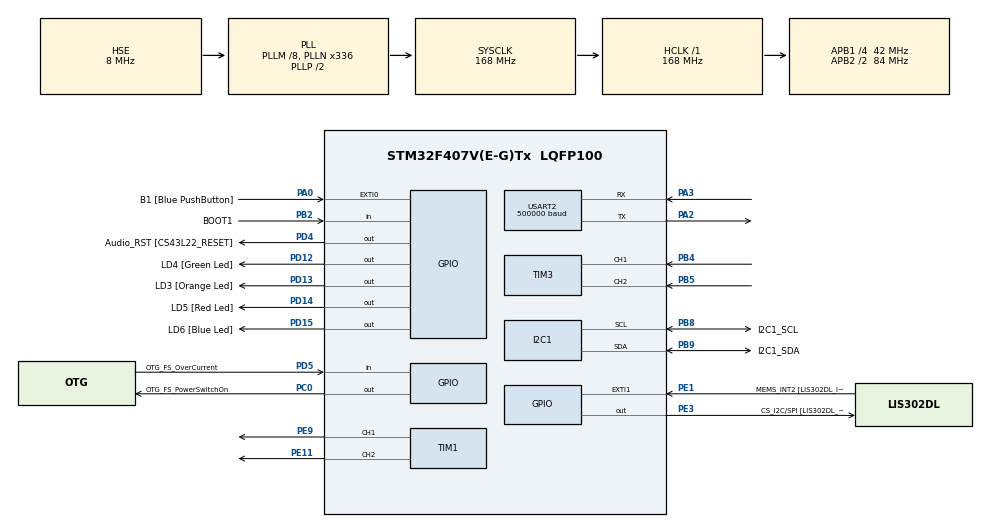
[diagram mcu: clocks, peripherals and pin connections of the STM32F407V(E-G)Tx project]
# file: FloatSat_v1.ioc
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Dma.Request0=USART2_RX
Dma.Request1=USART2_TX
Dma.USART2_RX.0.Direction=DMA_PERIPH_TO_MEMORY
Dma.USART2_RX.0.FIFOMode=DMA_FIFOMODE_DISABLE
Dma.USART2_RX.0.Instance=DMA1_Stream5
Dma.USART2_RX.0.MemDataAlignment=DMA_MDATAALIGN_BYTE
Dma.USART2_RX.0.MemInc=DMA_MINC_ENABLE
Dma.USART2_RX.0.Mode=DMA_NORMAL
Dma.USART2_RX.0.PeriphDataAlignment=DMA_PDATAALIGN_BYTE
Dma.USART2_RX.0.PeriphInc=DMA_PINC_DISABLE
Dma.USART2_RX.0.Priority=DMA_PRIORITY_LOW
Dma.USART2_TX.1.Direction=DMA_MEMORY_TO_PERIPH
Dma.USART2_TX.1.FIFOMode=DMA_FIFOMODE_DISABLE
Dma.USART2_TX.1.Instance=DMA1_Stream6
Dma.USART2_TX.1.MemDataAlignment=DMA_MDATAALIGN_BYTE
Dma.USART2_TX.1.MemInc=DMA_MINC_ENABLE
Dma.USART2_TX.1.Mode=DMA_NORMAL
Dma.USART2_TX.1.PeriphDataAlignment=DMA_PDATAALIGN_BYTE
Dma.USART2_TX.1.PeriphInc=DMA_PINC_DISABLE
Dma.USART2_TX.1.Priority=DMA_PRIORITY_LOW
FREERTOS.Tasks01=defaultTask,24,128,StartDefaultTask,Default,NULL,Dynamic,NULL,NULL;Task_Telemetry,27,256,Task_TelemetryFn,As external,handles->telemetry_handle,Dynamic,NULL,NULL;Task_Telecmd,24,256,Task_TelecmdFn,As external,handles->cmd_manager_handle,Dynamic,NULL,NULL;Task_Control,27,256,Task_ControlFn,As external,handles->control_handle,Dynamic,NULL,NULL;Task_Core,24,256,Task_CoreFn,As external,handles->core_handle,Dynamic,NULL,NULL;Task_Log,8,128,Task_LogFn,As external,handles->telemetry_handle,Dynamic,NULL,NULL
FREERTOS.configCHECK_FOR_STACK_OVERFLOW=2
FREERTOS.configUSE_NEWLIB_REENTRANT=1
Mcu.Family=STM32F4
Mcu.Name=STM32F407V(E-G)Tx
Mcu.Package=LQFP100
Mcu.UserConstants=ENCODER_SAMPLE_PERIOD_MS,5;MOTOR_PWM_TIM,$$_TIM1_IP_HANDLE_$$;IMU_I2C,$$_I2C1_IP_HANDLE_$$;MOTOR_ENCODER_TIM,$$_TIM3_IP_HANDLE_$$;ENCODER_SAMPLER_TIM,$$_TIM12_IP_HANDLE_$$;MOTOR_PWM_PERIOD_US,1000;MICROSEC_TIMER,$$_TIM2_IP_HANDLE_$$;MAIN_UART,$$_USART2_IP_HANDLE_$$
NVIC.DMA1_Stream5_IRQn=true\:5\:0\:false\:false\:true\:true\:false\:true\:true
NVIC.DMA1_Stream6_IRQn=true\:5\:0\:false\:false\:true\:true\:false\:true\:true
NVIC.PriorityGroup=NVIC_PRIORITYGROUP_4
NVIC.TIM2_IRQn=true\:5\:0\:false\:false\:true\:true\:true\:true\:true
NVIC.TIM3_IRQn=true\:5\:0\:false\:false\:true\:true\:true\:true\:true
NVIC.TIM6_DAC_IRQn=true\:15\:0\:true\:false\:true\:false\:false\:true\:true
NVIC.TIM8_BRK_TIM12_IRQn=true\:5\:0\:false\:false\:true\:true\:true\:true\:true
NVIC.TimeBase=TIM6_DAC_IRQn
NVIC.TimeBaseIP=TIM6
NVIC.USART2_IRQn=true\:5\:0\:false\:false\:true\:true\:true\:true\:true
PA0-WKUP.GPIO_Label=B1 [Blue PushButton]
PA0-WKUP.Signal=GPXTI0
PA10.Signal=USART1_RX
PA11.GPIO_Label=OTG_FS_DM
PA11.GPIO_Mode=GPIO_MODE_AF_PP
PA11.GPIO_PuPd=GPIO_NOPULL
PA11.GPIO_Speed=GPIO_SPEED_FREQ_LOW
PA11.Signal=USB_OTG_FS_DM
PA12.GPIO_Label=OTG_FS_DP
PA12.GPIO_Mode=GPIO_MODE_AF_PP
PA12.GPIO_PuPd=GPIO_NOPULL
PA12.GPIO_Speed=GPIO_SPEED_FREQ_LOW
PA12.Signal=USB_OTG_FS_DP
PA13.GPIO_Label=SWDIO
PA13.Mode=Serial_Wire
PA13.Signal=SYS_JTMS-SWDIO
PA14.GPIO_Label=SWCLK
PA14.Mode=Serial_Wire
PA14.Signal=SYS_JTCK-SWCLK
PA2.Mode=Asynchronous
PA2.Signal=USART2_TX
PA3.Mode=Asynchronous
PA3.Signal=USART2_RX
PA9.Signal=USART1_TX
PB2.GPIO_Label=BOOT1
PB2.GPIO_Mode=GPIO_MODE_INPUT
PB2.GPIO_PuPd=GPIO_NOPULL
PB2.Signal=GPIO_Input
PB3.GPIO_Label=SWO
PB3.Signal=SYS_JTDO-SWO
PB4.Signal=S_TIM3_CH1
PB5.Signal=S_TIM3_CH2
PB8.GPIO_Label=I2C1_SCL
PB8.Mode=I2C
PB8.Signal=I2C1_SCL
PB9.GPIO_Label=I2C1_SDA
PB9.Mode=I2C
PB9.Signal=I2C1_SDA
PC0.GPIO_Label=OTG_FS_PowerSwitchOn
PC0.GPIO_PuPd=GPIO_NOPULL
PC0.GPIO_Speed=GPIO_SPEED_FREQ_LOW
PC0.PinState=GPIO_PIN_SET
PC0.Signal=GPIO_Output
PD12.GPIO_Label=LD4 [Green Led]
PD12.GPIO_PuPd=GPIO_NOPULL
PD12.GPIO_Speed=GPIO_SPEED_FREQ_LOW
PD12.Signal=GPIO_Output
PD13.GPIO_Label=LD3 [Orange Led]
PD13.GPIO_PuPd=GPIO_NOPULL
PD13.GPIO_Speed=GPIO_SPEED_FREQ_LOW
PD13.Signal=GPIO_Output
PD14.GPIO_Label=LD5 [Red Led]
PD14.GPIO_PuPd=GPIO_NOPULL
PD14.GPIO_Speed=GPIO_SPEED_FREQ_LOW
PD14.Signal=GPIO_Output
PD15.GPIO_Label=LD6 [Blue Led]
PD15.GPIO_PuPd=GPIO_NOPULL
PD15.GPIO_Speed=GPIO_SPEED_FREQ_LOW
PD15.Signal=GPIO_Output
PD4.GPIO_Label=Audio_RST [CS43L22_RESET]
PD4.GPIO_PuPd=GPIO_NOPULL
PD4.GPIO_Speed=GPIO_SPEED_FREQ_LOW
PD4.Signal=GPIO_Output
PD5.GPIO_Label=OTG_FS_OverCurrent
PD5.GPIO_Mode=GPIO_MODE_INPUT
PD5.GPIO_PuPd=GPIO_NOPULL
PD5.Signal=GPIO_Input
PE1.GPIO_Label=MEMS_INT2 [LIS302DL_INT2]
PE1.GPIO_ModeDefaultEXTI=GPIO_MODE_EVT_RISING
PE1.GPIO_PuPd=GPIO_NOPULL
PE1.Signal=GPXTI1
PE11.Signal=S_TIM1_CH2
PE3.GPIO_Label=CS_I2C/SPI [LIS302DL_CS_I2C/SPI]
PE3.GPIO_PuPd=GPIO_NOPULL
PE3.GPIO_Speed=GPIO_SPEED_FREQ_LOW
PE3.Signal=GPIO_Output
PE9.Signal=S_TIM1_CH1
PH0-OSC_IN.GPIO_Label=PH0-OSC_IN
PH0-OSC_IN.Mode=HSE-External-Clock-Source
PH0-OSC_IN.Signal=RCC_OSC_IN
PH1-OSC_OUT.GPIO_Label=PH1-OSC_OUT
PH1-OSC_OUT.Mode=HSE-External-Clock-Source
PH1-OSC_OUT.Signal=RCC_OSC_OUT
ProjectManager.HeapSize=0x200
ProjectManager.StackSize=0x400
ProjectManager.TargetToolchain=STM32CubeIDE
RCC.48MHZClocksFreq_Value=48000000
RCC.AHBFreq_Value=168000000
RCC.APB1CLKDivider=RCC_HCLK_DIV4
RCC.APB1Freq_Value=42000000
RCC.APB1TimFreq_Value=84000000
RCC.APB2CLKDivider=RCC_HCLK_DIV2
RCC.APB2Freq_Value=84000000
RCC.APB2TimFreq_Value=168000000
RCC.CortexFreq_Value=168000000
RCC.HCLKFreq_Value=168000000
RCC.HSE_VALUE=8000000
RCC.HSI_VALUE=16000000
RCC.LSE_VALUE=32768
RCC.PLLM=8
RCC.PLLN=336
RCC.PLLQ=7
RCC.PLLSourceVirtual=RCC_PLLSOURCE_HSE
RCC.SYSCLKFreq_VALUE=168000000
RCC.SYSCLKSource=RCC_SYSCLKSOURCE_PLLCLK
RCC.VCOOutputFreq_Value=336000000
SH.S_TIM1_CH1.0=TIM1_CH1,PWM Generation1 CH1
SH.S_TIM1_CH2.0=TIM1_CH2,PWM Generation2 CH2
SH.S_TIM3_CH1.0=TIM3_CH1,Encoder_Interface
SH.S_TIM3_CH2.0=TIM3_CH2,Encoder_Interface
TIM1.AutoReloadPreload=TIM_AUTORELOAD_PRELOAD_ENABLE
TIM1.Channel-PWM\ Generation1\ CH1=TIM_CHANNEL_1
TIM1.Channel-PWM\ Generation2\ CH2=TIM_CHANNEL_2
TIM1.OC1Preload_PWM=ENABLE
TIM1.OC2Preload_PWM=ENABLE
TIM1.Period=(MOTOR_PWM_PERIOD_US * 168)
TIM12.AutoReloadPreload=TIM_AUTORELOAD_PRELOAD_ENABLE
TIM12.Period=ENCODER_SAMPLE_PERIOD_MS * 10 - 1
TIM12.Prescaler=8400
TIM2.AutoReloadPreload=TIM_AUTORELOAD_PRELOAD_ENABLE
TIM2.Channel-Input_Capture1_from_TI1=TIM_CHANNEL_1
TIM2.Period=0xffffffff
TIM2.Prescaler=83
TIM3.AutoReloadPreload=TIM_AUTORELOAD_PRELOAD_ENABLE
TIM3.EncoderMode=TIM_ENCODERMODE_TI12
TIM3.IC1Filter=4
USART2.BaudRate=500000
USART2.VirtualMode=VM_ASYNC
VP_FREERTOS_VS_CMSIS_V2.Mode=CMSIS_V2
VP_SYS_VS_tim6.Mode=TIM6
VP_TIM12_VS_ClockSourceINT.Mode=Internal
VP_TIM1_VS_ClockSourceINT.Mode=Internal
VP_TIM2_VS_ClockSourceINT.Mode=Internal
board=STM32F407G-DISC1

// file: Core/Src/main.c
/* USER CODE BEGIN Header */
/**
  ******************************************************************************
  * @file           : main.c
  * @brief          : Punto de entrada principal de la aplicación.
  *
  * Este archivo realiza la secuencia general de arranque:
  *
  *   1. Inicializa la biblioteca HAL.
  *   2. Configura el reloj del microcontrolador.
  *   3. Inicializa GPIO, I2C, temporizadores y UART.
  *   4. Inicializa el kernel de FreeRTOS.
  *   5. Crea las tareas y objetos del sistema.
  *   6. Inicia el planificador de FreeRTOS.
  *
  * Después de iniciar el scheduler, la ejecución normal queda repartida
  * entre las tareas definidas en freertos.c.
  ******************************************************************************
  * @attention
  *
  * Copyright (c) 2026 STMicroelectronics.
  * All rights reserved.
  *
  * This software is licensed under terms that can be found in the LICENSE file
  * in the root directory of this software component.
  * If no LICENSE file comes with this software, it is provided AS-IS.
  *
  ******************************************************************************
  */
/* USER CODE END Header */
#include "main.h"
#include "cmsis_os.h"
#include "dma.h"
#include "i2c.h"
#include "tim.h"
#include "usart.h"
#include "gpio.h"

/* USER CODE BEGIN Includes */
#include "floatsat_init.h"

/* USER CODE END Includes */

/* USER CODE BEGIN PV */
static floatsat_callbacks_t callbacks = {0};

/* USER CODE END PV */

void SystemClock_Config(void);
void MX_FREERTOS_Init(void);

int main(void)
{

  /* USER CODE BEGIN 1 */

  // TODO: Does the MCU have a FPU so we can handle floating point thru hardware?
  // Is it enabled?

  /* USER CODE END 1 */

  /* MCU Configuration--------------------------------------------------------*/

  /* Reset of all peripherals, Initializes the Flash interface and the Systick. */
  HAL_Init();

  /* Configure the system clock */
  SystemClock_Config();

  /* Initialize all configured peripherals */
  MX_GPIO_Init();
  MX_DMA_Init();
  MX_I2C1_Init();
  MX_TIM1_Init();
  MX_TIM3_Init();
  MX_TIM2_Init();
  MX_TIM12_Init();
  MX_USART2_UART_Init();
  /* USER CODE BEGIN 2 */

  // From Percepio View
  xTraceInitialize();

  floatsat_periph_t peripherals = {
    .imu_i2c                  =   &IMU_I2C,
    .main_uart                =   &MAIN_UART,
    .motor_pwm_timer          =   &MOTOR_PWM_TIM,
    .encoder_timer            =   &MOTOR_ENCODER_TIM,
    .encoder_sampling_timer   =   &ENCODER_SAMPLER_TIM,
    .microsec_timer           =   &MICROSEC_TIMER,

    .i2c_init_fn              =   MX_I2C1_Init,
    .i2c_sda_pins             =   {I2C1_SDA_Pin,0,0},
    .i2c_scl_pins             =   {I2C1_SCL_Pin,0,0},
    .i2c_gpio                 =   I2C1_SDA_GPIO_Port
  };

  const mx_user_constants_t user_constants = {
    .encoder_sampling_period_ms = ENCODER_SAMPLE_PERIOD_MS,
  };

  floatsat_err_t ret = FloatSat_Init(&peripherals, &user_constants, &callbacks);

  if(ret != ERR_OK)
  {
	  LOGE("MAIN","Failure during initialization!");
	  Error_Handler();
  }

  /* USER CODE END 2 */

  /* Init scheduler */
  osKernelInitialize();  /* Call init function for freertos objects (in cmsis_os2.c) */
  MX_FREERTOS_Init();

  /* Start scheduler */
  osKernelStart();

  /* We should never get here as control is now taken by the scheduler */

  /* Infinite loop */
  /* USER CODE BEGIN WHILE */

  /*
   * Bucle de seguridad.
   *
   * No debería ejecutarse durante el funcionamiento normal porque
   * el control debería permanecer en FreeRTOS.
   */
  while (1)
  {
    /* USER CODE END WHILE */

  }
}

void SystemClock_Config(void)
{
  RCC_OscInitTypeDef RCC_OscInitStruct = {0};
  RCC_ClkInitTypeDef RCC_ClkInitStruct = {0};

  /** Configure the main internal regulator output voltage
  */
  __HAL_RCC_PWR_CLK_ENABLE();
  __HAL_PWR_VOLTAGESCALING_CONFIG(PWR_REGULATOR_VOLTAGE_SCALE1);

  /** Initializes the RCC Oscillators according to the specified parameters
  * in the RCC_OscInitTypeDef structure.
  */
  RCC_OscInitStruct.OscillatorType = RCC_OSCILLATORTYPE_HSE;
  RCC_OscInitStruct.HSEState = RCC_HSE_BYPASS;
  RCC_OscInitStruct.PLL.PLLState = RCC_PLL_ON;
  RCC_OscInitStruct.PLL.PLLSource = RCC_PLLSOURCE_HSE;
  RCC_OscInitStruct.PLL.PLLM = 8;
  RCC_OscInitStruct.PLL.PLLN = 336;
  RCC_OscInitStruct.PLL.PLLP = RCC_PLLP_DIV2;
  RCC_OscInitStruct.PLL.PLLQ = 7;
  if (HAL_RCC_OscConfig(&RCC_OscInitStruct) != HAL_OK)
  {
    Error_Handler();
  }

  /** Initializes the CPU, AHB and APB buses clocks
  */
  RCC_ClkInitStruct.ClockType = RCC_CLOCKTYPE_HCLK|RCC_CLOCKTYPE_SYSCLK
                              |RCC_CLOCKTYPE_PCLK1|RCC_CLOCKTYPE_PCLK2;
  RCC_ClkInitStruct.SYSCLKSource = RCC_SYSCLKSOURCE_PLLCLK;
  RCC_ClkInitStruct.AHBCLKDivider = RCC_SYSCLK_DIV1;
  RCC_ClkInitStruct.APB1CLKDivider = RCC_HCLK_DIV4;
  RCC_ClkInitStruct.APB2CLKDivider = RCC_HCLK_DIV2;

  if (HAL_RCC_ClockConfig(&RCC_ClkInitStruct, FLASH_LATENCY_5) != HAL_OK)
  {
    Error_Handler();
  }
}

/* USER CODE BEGIN 4 */

/*
 * Espacio reservado para funciones adicionales del usuario.
 *
 * El contenido será conservado por STM32CubeMX.
 */

/* USER CODE END 4 */

void HAL_TIM_PeriodElapsedCallback(TIM_HandleTypeDef *htim)
{
  /* USER CODE BEGIN Callback 0 */
  static uint64_t prev_us = 0UL, us = 0UL;
  static uint32_t count = 0U, delta_sum = 0U;
  /* USER CODE END Callback 0 */
  if (htim->Instance == TIM6)
  {
    HAL_IncTick();
  }
  /* USER CODE BEGIN Callback 1 */
//  if (htim->Instance == TIM6)
//  {
//      count++;
//      us = Util_GetTimeUs();
//      delta_sum = us - prev_us;
//      prev_us = us;
//  }

  if(htim == &MICROSEC_TIMER){
    Util_IncTimeUsOverflow();
  }

  if(htim == &ENCODER_SAMPLER_TIM && callbacks.encoder_sample_cb){
    callbacks.encoder_sample_cb(htim);
  }

  /* USER CODE END Callback 1 */
}

void Error_Handler(void)
{
  /* USER CODE BEGIN Error_Handler_Debug */

  /*
   * Deshabilitar globalmente las interrupciones.
   *
   * Después de esta instrucción:
   *
   *   - FreeRTOS no puede realizar cambios de tarea.
   *   - Los temporizadores no ejecutan callbacks.
   *   - La comunicación por interrupciones queda detenida.
   */
  __disable_irq();

  /*
   * Permanecer bloqueado indefinidamente.
   */
  while (1)
  {
    /*
     * Aquí podrían agregarse señales de diagnóstico, aunque con las
     * interrupciones deshabilitadas solo deberían usarse operaciones
     * directas y no bloqueantes.
     */
  }

  /* USER CODE END Error_Handler_Debug */
}

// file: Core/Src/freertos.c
/* USER CODE BEGIN Header */
/**
  ******************************************************************************
  * File Name          : freertos.c
  * Description        : Inicialización y elementos asociados a FreeRTOS.
  *
  * Este archivo contiene:
  *
  *   - Definición y creación de las tareas del sistema.
  *   - Variables globales de diagnóstico y telemetría.
  *   - Parámetros generales del FloatSat.
  *   - Funciones auxiliares para controlar el motor.
  *   - Función de recuperación del bus I2C1.
  *
  * Las secciones delimitadas por USER CODE BEGIN / END son conservadas
  * por STM32CubeMX cuando se vuelve a generar el código.
  ******************************************************************************
  */
/* USER CODE END Header */

#include "FreeRTOS.h"
#include "task.h"
#include "main.h"
#include "cmsis_os.h"

/* USER CODE BEGIN Variables */

static const floatsat_handles_t *handles;

/* USER CODE END Variables */
/* Definitions for defaultTask */
osThreadId_t defaultTaskHandle;
const osThreadAttr_t defaultTask_attributes = {
  .name = "defaultTask",
  .stack_size = 128 * 4,
  .priority = (osPriority_t) osPriorityNormal,
};
/* Definitions for Task_Telemetry */
osThreadId_t Task_TelemetryHandle;
const osThreadAttr_t Task_Telemetry_attributes = {
  .name = "Task_Telemetry",
  .stack_size = 256 * 4,
  .priority = (osPriority_t) osPriorityNormal3,
};
/* Definitions for Task_Telecmd */
osThreadId_t Task_TelecmdHandle;
const osThreadAttr_t Task_Telecmd_attributes = {
  .name = "Task_Telecmd",
  .stack_size = 256 * 4,
  .priority = (osPriority_t) osPriorityNormal,
};
/* Definitions for Task_Control */
osThreadId_t Task_ControlHandle;
const osThreadAttr_t Task_Control_attributes = {
  .name = "Task_Control",
  .stack_size = 256 * 4,
  .priority = (osPriority_t) osPriorityNormal3,
};
/* Definitions for Task_Core */
osThreadId_t Task_CoreHandle;
const osThreadAttr_t Task_Core_attributes = {
  .name = "Task_Core",
  .stack_size = 256 * 4,
  .priority = (osPriority_t) osPriorityNormal,
};
/* Definitions for Task_Log */
osThreadId_t Task_LogHandle;
const osThreadAttr_t Task_Log_attributes = {
  .name = "Task_Log",
  .stack_size = 128 * 4,
  .priority = (osPriority_t) osPriorityLow,
};

void StartDefaultTask(void *argument);
extern void Task_TelemetryFn(void *argument);
extern void Task_TelecmdFn(void *argument);
extern void Task_ControlFn(void *argument);
extern void Task_CoreFn(void *argument);
extern void Task_LogFn(void *argument);

void MX_FREERTOS_Init(void); /* (MISRA C 2004 rule 8.1) */

/* Hook prototypes */
void vApplicationStackOverflowHook(xTaskHandle xTask, signed char *pcTaskName);

/* USER CODE BEGIN 4 */
void vApplicationStackOverflowHook(xTaskHandle xTask, signed char *pcTaskName)
{
   /* Run time stack overflow checking is performed if
   configCHECK_FOR_STACK_OVERFLOW is defined to 1 or 2. This hook function is
   called if a stack overflow is detected. */
    (void)xTask;
    taskDISABLE_INTERRUPTS();
    __BKPT(0);            // debugger stops here; inspect pcTaskName
    for(;;);
}
/* USER CODE END 4 */

void MX_FREERTOS_Init(void) {
  /* USER CODE BEGIN Init */
  handles = FloatSat_GetHandles();
  /* USER CODE END Init */

  /* Create the thread(s) */
  /* creation of defaultTask */
  defaultTaskHandle = osThreadNew(StartDefaultTask, NULL, &defaultTask_attributes);

  /* creation of Task_Telemetry */
  Task_TelemetryHandle = osThreadNew(Task_TelemetryFn, (void*) handles->telemetry_handle, &Task_Telemetry_attributes);

  /* creation of Task_Telecmd */
  Task_TelecmdHandle = osThreadNew(Task_TelecmdFn, (void*) handles->cmd_manager_handle, &Task_Telecmd_attributes);

  /* creation of Task_Control */
  Task_ControlHandle = osThreadNew(Task_ControlFn, (void*) handles->control_handle, &Task_Control_attributes);

  /* creation of Task_Core */
  Task_CoreHandle = osThreadNew(Task_CoreFn, (void*) handles->core_handle, &Task_Core_attributes);

  /* creation of Task_Log */
  Task_LogHandle = osThreadNew(Task_LogFn, (void*) handles->telemetry_handle, &Task_Log_attributes);

}

void StartDefaultTask(void *argument)
{
  /* USER CODE BEGIN StartDefaultTask */
  /* Infinite loop */
  uint64_t us = 0UL, prev_us = 0U;
  for(;;)
  {
    prev_us = Util_GetTimeUs();
    vTaskDelay(pdMS_TO_TICKS(1000));
    us = Util_GetTimeUs();
    (void)(0U);

  }
  /* USER CODE END StartDefaultTask */
}
